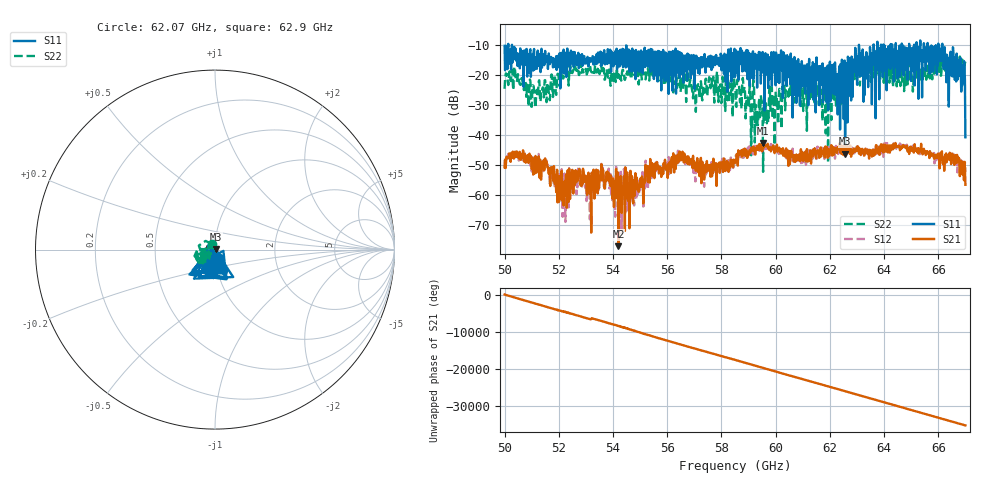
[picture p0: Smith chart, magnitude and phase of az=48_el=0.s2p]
!Created with skrf (http://scikit-rf.org).
# GHz S RI R 50.0
!freq ReS11 ImS11 ReS21 ImS21 ReS12 ImS12 ReS22 ImS22
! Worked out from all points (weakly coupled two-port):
!   1001 points, 50 GHz to 67 GHz, reference 50 ohm
!   highest |S21| = -42.70 dB at 59.52 GHz (marker M1); lowest = -77.1 dB at 54.2 GHz (marker M2)
!   lowest |S11| = -46.3 dB at 62.56 GHz (marker M3), VSWR 1.01, Z = 50.4 + j0.232 ohm
!   |S11| at or under -10 dB: 50.14 GHz to 63.62 GHz (13.48 GHz wide, 23.7 % of centre); 65.61 GHz to 66 GHz (388.7 MHz wide, 0.591 % of centre); 66.15 GHz to end of sweep (the widest 3 of 16)
!   |S22| runs from -52.3 to -14.0 dB; largest |S21 - S12| = 0.0023
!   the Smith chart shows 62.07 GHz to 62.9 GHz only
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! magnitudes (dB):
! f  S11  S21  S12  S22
! 50 GHz  -10.4  -50.8  -50.8  -24.7
! 50.42 GHz  -15.4  -46.3  -46.9  -22.2
! 51.07 GHz  -12.5  -49.2  -48.5  -23.9
! 51.51 GHz  -15.9  -49.0  -51.3  -23.3
! 51.99 GHz  -15.5  -53.7  -53.0  -20.5
! 52.84 GHz  -14.6  -56.9  -55.7  -19.4
! 53.11 GHz  -15.1  -54.5  -53.1  -18.4
! 53.59 GHz  -12.7  -55.2  -55.1  -18.6
! 54.2 GHz  -16.6  -77.1  -65.3  -19.8
! 54.86 GHz  -12.9  -58.2  -61.6  -19.2
! 55.68 GHz  -14.0  -50.3  -50.8  -22.1
! 58.5 GHz  -20.7  -49.3  -49.2  -24.6
! 59.52 GHz  -12.5  -42.7  -43.8  -35.8
! 60.64 GHz  -14.8  -46.8  -48.9  -22.8
! 61.34 GHz  -23.9  -45.3  -45.2  -25.7
! 62 GHz  -15.7  -45.5  -45.7  -25.4
! 62.56 GHz  -46.3  -44.0  -45.1  -20.1
! 63.01 GHz  -23.4  -43.9  -44.0  -20.1
! 64.18 GHz  -17.6  -43.6  -43.7  -18.6
! 66.08 GHz  -15.4  -46.0  -46.8  -15.7
! 66.9 GHz  -16.9  -53.3  -50.7  -15.2
! 67 GHz  -40.9  -56.6  -52.5  -15.7
